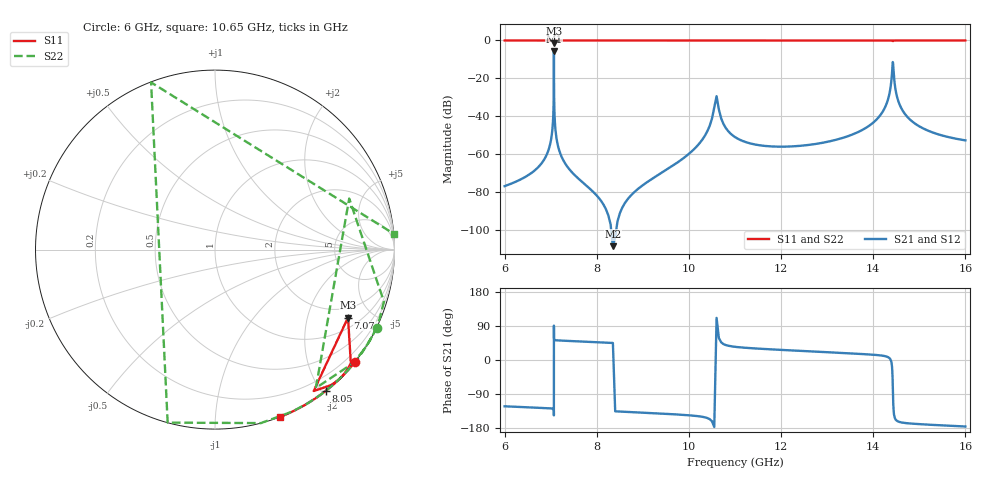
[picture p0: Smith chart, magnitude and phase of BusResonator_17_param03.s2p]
! Sonnet Data File
! From: emgraph Version : 16.54
! From Project: BusResonator_17
! Data is De-embedded
! Data File Written: 08/31/2017 18:33:07
!< HDATE 08/31/2017 16:58:22
!< MDATE 08/31/2017 17:03:00
!< PARAMS
!< BusLengthControl = 1100.0
!< END PARAMS
# GHZ S MA R 50.00000
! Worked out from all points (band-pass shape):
!   1395 points, 6 GHz to 16 GHz, reference 50 ohm
!   highest |S21| = -5.69 dB at 7.07 GHz (marker M1); lowest = -108.4 dB at 8.35 GHz (marker M2)
!   |S21| within 3 dB of the highest: 7.069968 GHz to 7.070564 GHz (595.6 kHz wide, 0.00842 % of centre)
!   lowest |S11| = -1.6 dB at 7.07 GHz (marker M3), VSWR 10.91, Z = 73.2 - j180 ohm
!   |S11| at or under -10 dB: nowhere
!   |S22| runs from -1.9 to 0.0 dB; largest |S21 - S12| = 0
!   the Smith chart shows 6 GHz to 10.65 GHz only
!   S11 on the Smith chart (normalised r, x): 6 GHz: 0.00, -2.86; 7.07 GHz: 1.46, -3.60; 8.05 GHz: 0.00, -2.06; 10.65 GHz: 0.00, -1.46
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6  1 -38.6  0.0001454 -122.2  0.0001454 -122.2  1 -25.7
!< P1 F=6.0 Eeff=(6.44857038 -2.9736e-5) Z0=(51.7893065 1.19468e-4) R=0.05083541 C=0.00240605
!< P2 F=6.0 Eeff=(6.44857038 -2.9736e-5) Z0=(51.7893065 1.19468e-4) R=0.05083541 C=0.00240605
6.897411  1 -44.4  0.0008916 -127.1  0.0008916 -127.1  1 -29.8
7.030784  1 -45.4  0.003836 -128.0  0.003836 -128.0  1 -30.6
7.056634  0.9999 -45.8  0.01113 -128.7  0.01113 -128.7  0.9999 -31.4
7.070353  0.832 -27.1  0.5193 90.7  0.5193 90.7  0.8001 20.8
7.096984  1 -45.5  0.005548 52.3  0.005548 52.3  1 -30.1
7.177456  1 -46.1  0.001362 51.5  0.001362 51.5  1 -30.8
7.7  1 -49.6  0.0001798 48.6  0.0001798 48.6  1 -33.3
8.05  1 -51.9  6.981e-05 46.6  6.981e-05 46.6  1 -35.0
8.35  1 -53.8  3.818e-06 44.9  3.818e-06 44.9  1 -36.4
9.35  1 -60.3  0.0002958 -141.1  0.0002958 -141.1  1 -41.8
10.65  0.9999 -68.8  0.01522 58.1  0.01522 58.1  0.9995 5.1
11  1 -71.1  0.002857 34.8  0.002857 34.8  1 -39.2
12.7  1 -82.4  0.001841 22.4  0.001841 22.4  1 -52.9
13.8469  1 -90.0  0.005035 15.1  0.005035 15.1  1 -59.8
14.33645  0.9995 -93.5  0.0329 6.5  0.0329 6.5  0.9994 -73.6
14.39938  0.9946 -94.4  0.104 -9.4  0.104 -9.4  0.9937 -104.3
14.44649  0.9918 -93.0  0.1273 -139.4  0.1273 -139.4  0.9906 -5.9
14.46451  0.9972 -93.5  0.07419 -151.5  0.07419 -151.5  0.9968 -29.7
14.51176  0.9994 -94.1  0.03456 -160.3  0.03456 -160.3  0.9993 -46.6
14.8  1 -96.2  0.008205 -167.5  0.008205 -167.5  1 -58.8
16  1 -104.3  0.002337 -175.5  0.002337 -175.5  1 -66.8
